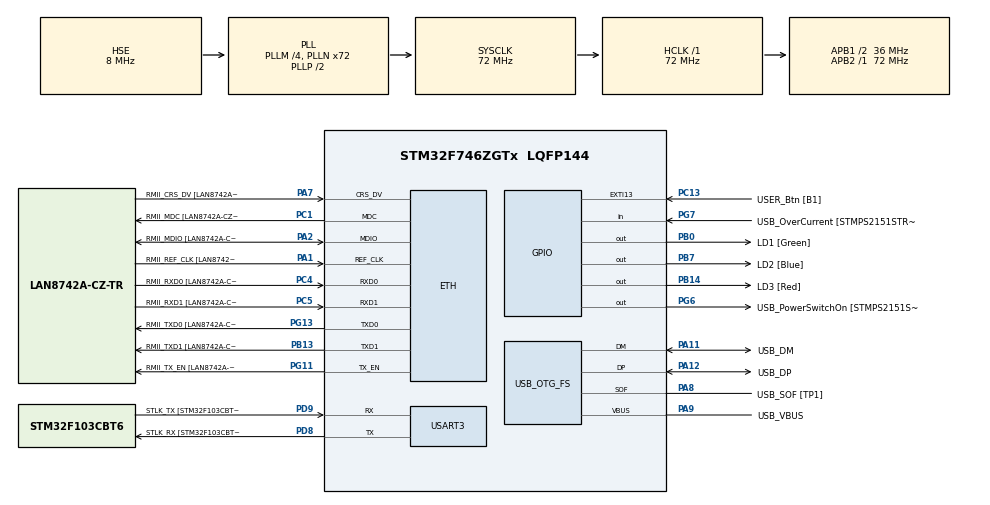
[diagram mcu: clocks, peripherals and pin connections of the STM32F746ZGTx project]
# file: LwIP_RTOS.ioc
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ETH.MediaInterface=ETH_MEDIA_INTERFACE_RMII
ETH.PHY_Name=LAN8742A_PHY_ADDRESS
ETH.PHY_Value=0
ETH.PhyAddress=0
FREERTOS.INCLUDE_vTaskDelayUntil=1
FREERTOS.Tasks01=defaultTask,0,128,StartDefaultTask,Default,NULL,Dynamic,NULL,NULL;LEDTask,-2,128,LedTaskInit,Default,NULL,Dynamic,NULL,NULL;LD2Task,-2,128,LD2Task_Init,Default,NULL,Dynamic,NULL,NULL
FREERTOS.configUSE_NEWLIB_REENTRANT=1
LWIP.API_LIB_DEBUG=LWIP_DBG_ON
LWIP.API_MSG_DEBUG=LWIP_DBG_ON
LWIP.AUTOIP_DEBUG=LWIP_DBG_ON
LWIP.DHCP_DEBUG=LWIP_DBG_ON
LWIP.DNS_DEBUG=LWIP_DBG_ON
LWIP.ETHARP_DEBUG=LWIP_DBG_ON
LWIP.GATEWAY_ADDRESS=172.016.000.001
LWIP.ICMP_DEBUG=LWIP_DBG_ON
LWIP.IGMP_DEBUG=LWIP_DBG_ON
LWIP.INET_DEBUG=LWIP_DBG_ON
LWIP.IP_ADDRESS=172.016.000.003
LWIP.IP_DEBUG=LWIP_DBG_ON
LWIP.IP_REASS_DEBUG=LWIP_DBG_ON
LWIP.LWIP_DBG_MIN_LEVEL=LWIP_DBG_LEVEL_ALL
LWIP.LWIP_DBG_TYPES_ON=LWIP_DBG_OFF
LWIP.LWIP_DHCP=0
LWIP.MEMP_DEBUG=LWIP_DBG_ON
LWIP.MEM_DEBUG=LWIP_DBG_ON
LWIP.NETIF_DEBUG=LWIP_DBG_ON
LWIP.NETMASK_ADDRESS=255.255.255.000
LWIP.PBUF_DEBUG=LWIP_DBG_ON
LWIP.RAW_DEBUG=LWIP_DBG_ON
LWIP.SLIP_DEBUG=LWIP_DBG_ON
LWIP.SOCKETS_DEBUG=LWIP_DBG_ON
LWIP.SYS_DEBUG=LWIP_DBG_ON
LWIP.TCPIP_DEBUG=LWIP_DBG_ON
LWIP.TIMERS_DEBUG=LWIP_DBG_ON
LWIP.Version=v2.1.2_Cube
Mcu.Family=STM32F7
Mcu.Name=STM32F746ZGTx
Mcu.Package=LQFP144
NVIC.ETH_IRQn=true\:5\:0\:false\:false\:true\:true\:false\:true
NVIC.PriorityGroup=NVIC_PRIORITYGROUP_4
NVIC.TIM8_TRG_COM_TIM14_IRQn=true\:15\:0\:false\:false\:true\:false\:false\:true
NVIC.TimeBase=TIM8_TRG_COM_TIM14_IRQn
NVIC.TimeBaseIP=TIM14
PA1.GPIO_Label=RMII_REF_CLK [LAN8742A-CZ-TR_REFCLK0]
PA1.Mode=RMII
PA1.Signal=ETH_REF_CLK
PA10.GPIO_Label=USB_ID
PA10.Signal=USB_OTG_FS_ID
PA11.GPIO_Label=USB_DM
PA11.Mode=Device_Only
PA11.Signal=USB_OTG_FS_DM
PA12.GPIO_Label=USB_DP
PA12.Mode=Device_Only
PA12.Signal=USB_OTG_FS_DP
PA13.GPIO_Label=TMS
PA13.Mode=Serial_Wire
PA13.Signal=SYS_JTMS-SWDIO
PA14.GPIO_Label=TCK
PA14.Mode=Serial_Wire
PA14.Signal=SYS_JTCK-SWCLK
PA2.GPIO_Label=RMII_MDIO [LAN8742A-CZ-TR_MDIO]
PA2.Mode=RMII
PA2.Signal=ETH_MDIO
PA7.GPIO_Label=RMII_CRS_DV [LAN8742A-CZ-TR_CRS_DV]
PA7.Mode=RMII
PA7.Signal=ETH_CRS_DV
PA8.GPIO_Label=USB_SOF [TP1]
PA8.Mode=Activate_SOF_FS
PA8.Signal=USB_OTG_FS_SOF
PA9.GPIO_Label=USB_VBUS
PA9.Mode=Activate_VBUS
PA9.Signal=USB_OTG_FS_VBUS
PB0.GPIO_Label=LD1 [Green]
PB0.Signal=GPIO_Output
PB13.GPIO_Label=RMII_TXD1 [LAN8742A-CZ-TR_TXD1]
PB13.Mode=RMII
PB13.Signal=ETH_TXD1
PB14.GPIO_Label=LD3 [Red]
PB14.Signal=GPIO_Output
PB3.GPIO_Label=SW0
PB3.Signal=SYS_JTDO-SWO
PB7.GPIO_Label=LD2 [Blue]
PB7.Signal=GPIO_Output
PC1.GPIO_Label=RMII_MDC [LAN8742A-CZ-TR_MDC]
PC1.Mode=RMII
PC1.Signal=ETH_MDC
PC13.GPIO_Label=USER_Btn [B1]
PC13.Signal=GPXTI13
PC14/OSC32_IN.Mode=LSE-External-Oscillator
PC14/OSC32_IN.Signal=RCC_OSC32_IN
PC15/OSC32_OUT.Mode=LSE-External-Oscillator
PC15/OSC32_OUT.Signal=RCC_OSC32_OUT
PC4.GPIO_Label=RMII_RXD0 [LAN8742A-CZ-TR_RXD0]
PC4.Mode=RMII
PC4.Signal=ETH_RXD0
PC5.GPIO_Label=RMII_RXD1 [LAN8742A-CZ-TR_RXD1]
PC5.Mode=RMII
PC5.Signal=ETH_RXD1
PD8.GPIO_Label=STLK_RX [STM32F103CBT6_PA3]
PD8.Mode=Asynchronous
PD8.Signal=USART3_TX
PD9.GPIO_Label=STLK_TX [STM32F103CBT6_PA2]
PD9.Mode=Asynchronous
PD9.Signal=USART3_RX
PG11.GPIO_Label=RMII_TX_EN [LAN8742A-CZ-TR_TXEN]
PG11.Mode=RMII
PG11.Signal=ETH_TX_EN
PG13.GPIO_Label=RMII_TXD0 [LAN8742A-CZ-TR_TXD0]
PG13.Mode=RMII
PG13.Signal=ETH_TXD0
PG6.GPIO_Label=USB_PowerSwitchOn [STMPS2151STR_EN]
PG6.Signal=GPIO_Output
PG7.GPIO_Label=USB_OverCurrent [STMPS2151STR_FAULT]
PG7.Signal=GPIO_Input
PH0/OSC_IN.GPIO_Label=MCO [STM32F103CBT6_PA8]
PH0/OSC_IN.Mode=HSE-External-Clock-Source
PH0/OSC_IN.Signal=RCC_OSC_IN
PH1/OSC_OUT.Mode=HSE-External-Clock-Source
PH1/OSC_OUT.Signal=RCC_OSC_OUT
ProjectManager.HeapSize=0x200
ProjectManager.StackSize=0x400
ProjectManager.TargetToolchain=STM32CubeIDE
RCC.48MHZClocksFreq_Value=24000000
RCC.AHBFreq_Value=72000000
RCC.APB1CLKDivider=RCC_HCLK_DIV2
RCC.APB1Freq_Value=36000000
RCC.APB1TimFreq_Value=72000000
RCC.APB2Freq_Value=72000000
RCC.APB2TimFreq_Value=72000000
RCC.CortexFreq_Value=72000000
RCC.HCLKFreq_Value=72000000
RCC.HSE_VALUE=8000000
RCC.HSI_VALUE=16000000
RCC.PLLM=4
RCC.PLLMUL=RCC_PLL_MUL9
RCC.PLLN=72
RCC.PLLQ=3
RCC.PRESCALERUSB=RCC_USBCLKSOURCE_PLL_DIV1_5
RCC.SYSCLKFreq_VALUE=72000000
RCC.SYSCLKSource=RCC_SYSCLKSOURCE_PLLCLK
RCC.SYSCLKSourceVirtual=RCC_SYSCLKSOURCE_PLLCLK
RCC.USBFreq_Value=48000000
RCC.VCOOutputFreq_Value=144000000
USART3.VirtualMode-Asynchronous=VM_ASYNC
USB_OTG_FS.VirtualMode=Device_Only
VP_FREERTOS_VS_CMSIS_V1.Mode=CMSIS_V1
VP_LWIP_VS_Enabled.Mode=Enabled
VP_SYS_VS_tim14.Mode=TIM14
board=NUCLEO-F746ZG

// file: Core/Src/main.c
/* USER CODE BEGIN Header */
/**
  ******************************************************************************
  * @file           : main.c
  * @brief          : Main program body
  ******************************************************************************
  * @attention
  *
  * <h2><center>&copy; Copyright (c) 2021 STMicroelectronics.
  * All rights reserved.</center></h2>
  *
  * This software component is licensed by ST under BSD 3-Clause license,
  * the "License"; You may not use this file except in compliance with the
  * License. You may obtain a copy of the License at:
  *                        opensource.org/licenses/BSD-3-Clause
  *
  ******************************************************************************
  */
/* USER CODE END Header */
#include "main.h"
#include "cmsis_os.h"
#include "lwip.h"

/* USER CODE BEGIN Includes */
#include "stdio.h"
#include "lwip/api.h"
#include "lwip/sockets.h"
#include "Sockets_UDP.h"
/* USER CODE END Includes */

UART_HandleTypeDef huart3;

PCD_HandleTypeDef hpcd_USB_OTG_FS;

osThreadId defaultTaskHandle;
osThreadId LEDTaskHandle;
osThreadId LD2TaskHandle;

void SystemClock_Config(void);
static void MX_GPIO_Init(void);
static void MX_USART3_UART_Init(void);
static void MX_USB_OTG_FS_PCD_Init(void);
void StartDefaultTask(void const * argument);
void LedTaskInit(void const * argument);
void LD2Task_Init(void const * argument);

/* USER CODE BEGIN 0 */
int __io_putchar(int ch)
{
	return ITM_SendChar(ch);
}
/* USER CODE END 0 */

int main(void)
{

  /* MCU Configuration--------------------------------------------------------*/

  /* Reset of all peripherals, Initializes the Flash interface and the Systick. */
  HAL_Init();

  /* Configure the system clock */
  SystemClock_Config();

  /* Initialize all configured peripherals */
  MX_GPIO_Init();
  MX_USART3_UART_Init();
  MX_USB_OTG_FS_PCD_Init();
  /* USER CODE BEGIN 2 */
  printf("Starting...\n");
  /* USER CODE END 2 */

  /* Create the thread(s) */
  /* definition and creation of defaultTask */
  osThreadDef(defaultTask, StartDefaultTask, osPriorityNormal, 0, 128);
  defaultTaskHandle = osThreadCreate(osThread(defaultTask), NULL);

  /* definition and creation of LEDTask */
  osThreadDef(LEDTask, LedTaskInit, osPriorityLow, 0, 128);
  LEDTaskHandle = osThreadCreate(osThread(LEDTask), NULL);

  /* definition and creation of LD2Task */
  osThreadDef(LD2Task, LD2Task_Init, osPriorityLow, 0, 128);
  LD2TaskHandle = osThreadCreate(osThread(LD2Task), NULL);

  /* USER CODE BEGIN RTOS_THREADS */
  /* add threads, ... */
  //osThreadDef(UDP_Receive, UDP_Receive_Thread, osPriorityHigh, 0, 128);
  //UDPReceiveTaskHandle = osThreadCreate(osThread(UDP_Receive), NULL);
  /* USER CODE END RTOS_THREADS */

  /* Start scheduler */
  osKernelStart();

  /* We should never get here as control is now taken by the scheduler */
  /* Infinite loop */
  while (1)
  {

  }
}

void SystemClock_Config(void)
{
  RCC_OscInitTypeDef RCC_OscInitStruct = {0};
  RCC_ClkInitTypeDef RCC_ClkInitStruct = {0};
  RCC_PeriphCLKInitTypeDef PeriphClkInitStruct = {0};

  /** Configure LSE Drive Capability
  */
  HAL_PWR_EnableBkUpAccess();
  /** Configure the main internal regulator output voltage
  */
  __HAL_RCC_PWR_CLK_ENABLE();
  __HAL_PWR_VOLTAGESCALING_CONFIG(PWR_REGULATOR_VOLTAGE_SCALE3);
  /** Initializes the RCC Oscillators according to the specified parameters
  * in the RCC_OscInitTypeDef structure.
  */
  RCC_OscInitStruct.OscillatorType = RCC_OSCILLATORTYPE_HSE;
  RCC_OscInitStruct.HSEState = RCC_HSE_BYPASS;
  RCC_OscInitStruct.PLL.PLLState = RCC_PLL_ON;
  RCC_OscInitStruct.PLL.PLLSource = RCC_PLLSOURCE_HSE;
  RCC_OscInitStruct.PLL.PLLM = 4;
  RCC_OscInitStruct.PLL.PLLN = 72;
  RCC_OscInitStruct.PLL.PLLP = RCC_PLLP_DIV2;
  RCC_OscInitStruct.PLL.PLLQ = 3;
  if (HAL_RCC_OscConfig(&RCC_OscInitStruct) != HAL_OK)
  {
    Error_Handler();
  }
  /** Initializes the CPU, AHB and APB buses clocks
  */
  RCC_ClkInitStruct.ClockType = RCC_CLOCKTYPE_HCLK|RCC_CLOCKTYPE_SYSCLK
                              |RCC_CLOCKTYPE_PCLK1|RCC_CLOCKTYPE_PCLK2;
  RCC_ClkInitStruct.SYSCLKSource = RCC_SYSCLKSOURCE_PLLCLK;
  RCC_ClkInitStruct.AHBCLKDivider = RCC_SYSCLK_DIV1;
  RCC_ClkInitStruct.APB1CLKDivider = RCC_HCLK_DIV2;
  RCC_ClkInitStruct.APB2CLKDivider = RCC_HCLK_DIV1;

  if (HAL_RCC_ClockConfig(&RCC_ClkInitStruct, FLASH_LATENCY_2) != HAL_OK)
  {
    Error_Handler();
  }
  PeriphClkInitStruct.PeriphClockSelection = RCC_PERIPHCLK_USART3|RCC_PERIPHCLK_CLK48;
  PeriphClkInitStruct.Usart3ClockSelection = RCC_USART3CLKSOURCE_PCLK1;
  PeriphClkInitStruct.Clk48ClockSelection = RCC_CLK48SOURCE_PLL;
  if (HAL_RCCEx_PeriphCLKConfig(&PeriphClkInitStruct) != HAL_OK)
  {
    Error_Handler();
  }
}

static void MX_USART3_UART_Init(void)
{

  huart3.Instance = USART3;
  huart3.Init.BaudRate = 115200;
  huart3.Init.WordLength = UART_WORDLENGTH_8B;
  huart3.Init.StopBits = UART_STOPBITS_1;
  huart3.Init.Parity = UART_PARITY_NONE;
  huart3.Init.Mode = UART_MODE_TX_RX;
  huart3.Init.HwFlowCtl = UART_HWCONTROL_NONE;
  huart3.Init.OverSampling = UART_OVERSAMPLING_16;
  huart3.Init.OneBitSampling = UART_ONE_BIT_SAMPLE_DISABLE;
  huart3.AdvancedInit.AdvFeatureInit = UART_ADVFEATURE_NO_INIT;
  if (HAL_UART_Init(&huart3) != HAL_OK)
  {
    Error_Handler();
  }

}

static void MX_USB_OTG_FS_PCD_Init(void)
{

  hpcd_USB_OTG_FS.Instance = USB_OTG_FS;
  hpcd_USB_OTG_FS.Init.dev_endpoints = 6;
  hpcd_USB_OTG_FS.Init.speed = PCD_SPEED_FULL;
  hpcd_USB_OTG_FS.Init.dma_enable = DISABLE;
  hpcd_USB_OTG_FS.Init.phy_itface = PCD_PHY_EMBEDDED;
  hpcd_USB_OTG_FS.Init.Sof_enable = ENABLE;
  hpcd_USB_OTG_FS.Init.low_power_enable = DISABLE;
  hpcd_USB_OTG_FS.Init.lpm_enable = DISABLE;
  hpcd_USB_OTG_FS.Init.vbus_sensing_enable = ENABLE;
  hpcd_USB_OTG_FS.Init.use_dedicated_ep1 = DISABLE;
  if (HAL_PCD_Init(&hpcd_USB_OTG_FS) != HAL_OK)
  {
    Error_Handler();
  }

}

static void MX_GPIO_Init(void)
{
  GPIO_InitTypeDef GPIO_InitStruct = {0};

  /* GPIO Ports Clock Enable */
  __HAL_RCC_GPIOC_CLK_ENABLE();
  __HAL_RCC_GPIOH_CLK_ENABLE();
  __HAL_RCC_GPIOA_CLK_ENABLE();
  __HAL_RCC_GPIOB_CLK_ENABLE();
  __HAL_RCC_GPIOD_CLK_ENABLE();
  __HAL_RCC_GPIOG_CLK_ENABLE();

  /*Configure GPIO pin Output Level */
  HAL_GPIO_WritePin(GPIOB, LD1_Pin|LD3_Pin|LD2_Pin, GPIO_PIN_RESET);

  /*Configure GPIO pin Output Level */
  HAL_GPIO_WritePin(USB_PowerSwitchOn_GPIO_Port, USB_PowerSwitchOn_Pin, GPIO_PIN_RESET);

  /*Configure GPIO pin : USER_Btn_Pin */
  GPIO_InitStruct.Pin = USER_Btn_Pin;
  GPIO_InitStruct.Mode = GPIO_MODE_IT_RISING;
  GPIO_InitStruct.Pull = GPIO_NOPULL;
  HAL_GPIO_Init(USER_Btn_GPIO_Port, &GPIO_InitStruct);

  /*Configure GPIO pins : LD1_Pin LD3_Pin LD2_Pin */
  GPIO_InitStruct.Pin = LD1_Pin|LD3_Pin|LD2_Pin;
  GPIO_InitStruct.Mode = GPIO_MODE_OUTPUT_PP;
  GPIO_InitStruct.Pull = GPIO_NOPULL;
  GPIO_InitStruct.Speed = GPIO_SPEED_FREQ_LOW;
  HAL_GPIO_Init(GPIOB, &GPIO_InitStruct);

  /*Configure GPIO pin : USB_PowerSwitchOn_Pin */
  GPIO_InitStruct.Pin = USB_PowerSwitchOn_Pin;
  GPIO_InitStruct.Mode = GPIO_MODE_OUTPUT_PP;
  GPIO_InitStruct.Pull = GPIO_NOPULL;
  GPIO_InitStruct.Speed = GPIO_SPEED_FREQ_LOW;
  HAL_GPIO_Init(USB_PowerSwitchOn_GPIO_Port, &GPIO_InitStruct);

  /*Configure GPIO pin : USB_OverCurrent_Pin */
  GPIO_InitStruct.Pin = USB_OverCurrent_Pin;
  GPIO_InitStruct.Mode = GPIO_MODE_INPUT;
  GPIO_InitStruct.Pull = GPIO_NOPULL;
  HAL_GPIO_Init(USB_OverCurrent_GPIO_Port, &GPIO_InitStruct);

}

/* USER CODE BEGIN 4 */
void UDP_Send_Thread(void)
{
	// Creamos estructuras de datos necesarias para los envíos
	 struct netconn *conn;
	 struct netbuf *outbuf;
	 int sd, sd2;
	 uint8_t dataraw[] = "Hola UDP RTOS\n";

	 // Generamos IP para envío de datos
	 ip_addr_t ipto;
	 IP4_ADDR(&ipto,172,16,0,2);

	 // Creamos conexión UDP con netconn
	 conn = netconn_new(NETCONN_UDP);
	 sd = Eth_UDP_Init(60000);
	 sd2 = Eth_UDP_Init(50000);

	 // Creamos buffer para envío de datos de tipo netbuf
	 outbuf = netbuf_new();
	 // referenciamos cadena de texto al buffer
	 netbuf_ref(outbuf, dataraw, sizeof(dataraw));

	 for(;;)
	 {
		 // Enviamos datos
		 netconn_sendto(conn, outbuf, &ipto, 49000);
		 netconn_sendto(conn, outbuf, &ipto, 49001);
		 UDP_Send(sd, dataraw, strlen(dataraw), "172.16.0.2", 60001);
		 UDP_Send(sd2, "Hola SD2", strlen("Hola SD2"), "172.16.0.2", 60001);
		 osDelay(500);
		 // Indicamos con un LED que el envío se ha hecho (parpadeo)
		 HAL_GPIO_TogglePin(LD3_GPIO_Port, LD3_Pin);
		 osDelay(500);
	 }
}

void UDP_Recv_Thread(void)
{
	printf("Hilo de lectura iniciado... \n");
	int sd;
	sd = Eth_UDP_Init(60005); // Inicializamos puerto de escucha
	uint8_t buffer[256];

	for(;;)
	{
		if(UDP_Recv(sd, buffer, 256) > 0)
		{
			printf("Recibido: %s\n", buffer);
		}
		// A implementar
	}
}
/* USER CODE END 4 */

void StartDefaultTask(void const * argument)
{
  /* init code for LWIP */
  MX_LWIP_Init();
  /* USER CODE BEGIN 5 */
  // Solucion Prioridad de tareas y tamaño de stack: https://community.st.com/s/question/0D53W00000BLVm8/creating-2-tcp-threads
  sys_thread_new("UDP_Send", UDP_Send_Thread, NULL, configMINIMAL_STACK_SIZE*2, osPriorityAboveNormal); // Crea la tarea de servicio para UDP
  sys_thread_new("UDP_Recv", UDP_Recv_Thread, NULL, configMINIMAL_STACK_SIZE*2, osPriorityLow); // Crea la tarea de servicio para UDP
  /* Infinite loop */
  for(;;)
  {
	  osDelay(1);
	  //osThreadTerminate(NULL);
  }
  /* USER CODE END 5 */
}

void LedTaskInit(void const * argument)
{
  /* USER CODE BEGIN LedTaskInit */
  /* Infinite loop */
  for(;;)
  {
	  HAL_GPIO_TogglePin(LD1_GPIO_Port, LD1_Pin);
    osDelay(1000);
  }
  /* USER CODE END LedTaskInit */
}

void LD2Task_Init(void const * argument)
{
  /* USER CODE BEGIN LD2Task_Init */
  /* Infinite loop */
  for(;;)
  {
	  HAL_GPIO_TogglePin(LD2_GPIO_Port, LD2_Pin);
	  osDelay(250);
  }
  /* USER CODE END LD2Task_Init */
}

void HAL_TIM_PeriodElapsedCallback(TIM_HandleTypeDef *htim)
{
  if (htim->Instance == TIM14) {
    HAL_IncTick();
  }
}

void Error_Handler(void)
{
  __disable_irq();
  while (1)
  {
  }
}

/************************ (C) COPYRIGHT STMicroelectronics *****END OF FILE****/
